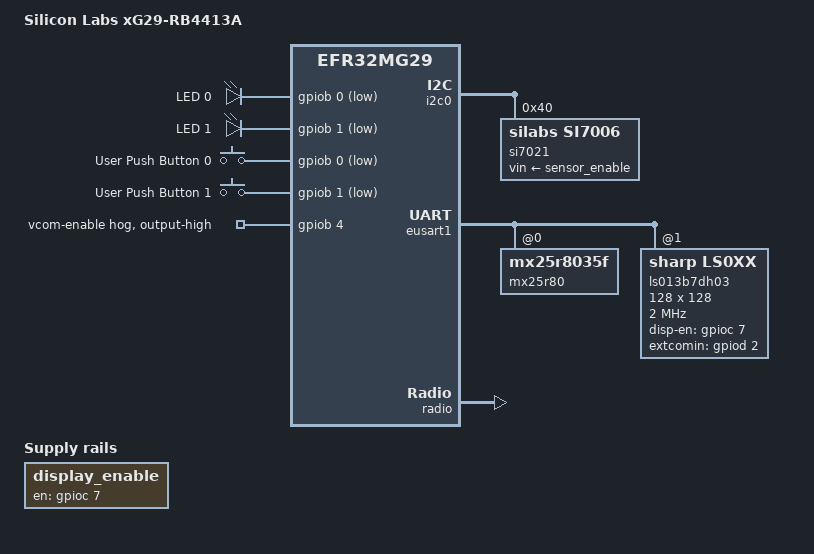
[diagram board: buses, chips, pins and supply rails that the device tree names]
/*
 * Copyright (c) 2025 Silicon Laboratories Inc.
 *
 * SPDX-License-Identifier: Apache-2.0
 */

/dts-v1/;
#include <silabs/xg29/efr32mg29b230f1024cm40.dtsi>
#include <zephyr/dt-bindings/input/input-event-codes.h>
#include "xg29_common.dtsi"
#include "xg29_rb4413a-pinctrl.dtsi"

/ {
	model = "Silicon Labs xG29-RB4413A";
	compatible = "silabs,xg29_rb4413a", "silabs,efr32mg29";

	chosen {
		zephyr,display = &ls013b7dh03;
	};

	aliases {
		dht0 = &si7021;
		/*
		 * Map buttons to the opposite aliases so samples can use LED0
		 * and SW0 simultaneously; each LED shares a pin with a button.
		 */
		sw0 = &button1;
		sw1 = &button0;
	};

	leds {
		compatible = "gpio-leds";

		led0: led_0 {
			gpios = <&gpiob 0 GPIO_ACTIVE_LOW>;
			label = "LED 0";
		};

		led1: led_1 {
			gpios = <&gpiob 1 GPIO_ACTIVE_LOW>;
			label = "LED 1";
		};
	};

	buttons {
		compatible = "gpio-keys";

		button0: button_0 {
			gpios = <&gpiob 0 GPIO_ACTIVE_LOW>;
			label = "User Push Button 0";
			zephyr,code = <INPUT_KEY_0>;
		};

		button1: button_1 {
			gpios = <&gpiob 1 GPIO_ACTIVE_LOW>;
			label = "User Push Button 1";
			zephyr,code = <INPUT_KEY_1>;
		};
	};

	display_enable: sensor_enable: gpio_switch_0 {
		compatible = "regulator-fixed";
		enable-gpios = <&gpioc 7 GPIO_ACTIVE_HIGH>;
		regulator-name = "sensor_enable";
	};
};

&hfxo {
	ctune = <129>;
	precision = <50>;
};

&lfxo {
	ctune = <42>;
	precision = <50>;
};

&dma0 {
	status = "okay";
};

&i2c0 {
	pinctrl-0 = <&i2c0_default>;
	pinctrl-names = "default";
	dmas = <&dma0 DMA_REQSEL_I2C0RXDATAV>, <&dma0 DMA_REQSEL_I2C0TXBL>;
	dma-names = "rx", "tx";
	status = "okay";

	si7021: si7021@40 {
		compatible = "silabs,si7006";
		reg = <0x40>;
		vin-supply = <&sensor_enable>;
	};
};

&eusart1 {
	cs-gpios = <&gpioa 4 GPIO_ACTIVE_LOW>, <&gpioc 6 GPIO_ACTIVE_HIGH>;

	mx25r80: mx25r8035f@0 {
		zephyr,pm-device-runtime-auto;
	};

	ls013b7dh03: ls0xx@1 {
		compatible = "sharp,ls0xx";
		reg = <1>;
		disp-en-gpios = <&gpioc 7 GPIO_ACTIVE_HIGH>;
		extcomin-frequency = <60>;
		extcomin-gpios = <&gpiod 2 GPIO_ACTIVE_HIGH>;
		height = <128>;
		spi-max-frequency = <DT_FREQ_M(2)>;
		width = <128>;
	};
};

&gpiob {
	vcom-enable {
		gpio-hog;
		gpios = <4 GPIO_ACTIVE_HIGH>;
		output-high;
	};
};

&radio {
	pa-2p4ghz = "highest";
	pa-voltage-mv = <1800>;
};
